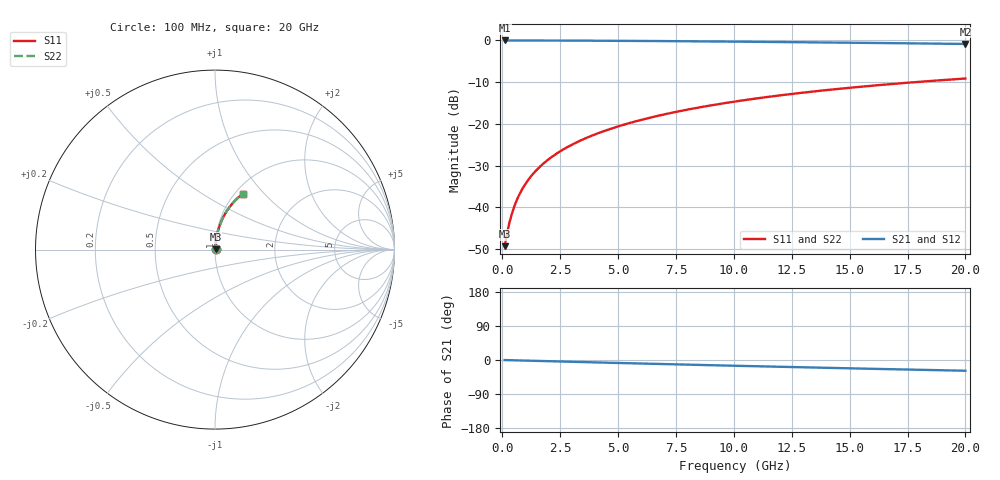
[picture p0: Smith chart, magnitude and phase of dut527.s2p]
! Touchstone file exported from HFSS 2024.1.0
!  File:  C:/UserFiles/LocalFiles/RDL_TSV_Batchsim/temp_RDL_bottom_527_1779688339.aedt
!  Generated:  01:54:50 PM May 25, 2026
!  Design:  RDL_bottom
!  Project:  temp_RDL_bottom_527_1779688339
!  Setup:  Setup1
!  Solution:  Sweep
! Variables:
!  dtsv = 10.80580581um
!  hbump = 3um
!  htsv = 66.06um
!  ldown = 343.71um
!  lrdl = 100um
!  p = 40
!  p1 = 45.08um
!  rhole = 1um
!  t = 450um
!  tdown = 4.01um
!  trdl = 3.915915916um
!  wdown = 11.1um
!  wrdl = 20um
# GHz S MA R 50.000000
! Terminal data exported
! Port[1] = RDL1_T1
! Port[2] = RDL1_T2
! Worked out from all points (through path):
!   200 points, 100 MHz to 20 GHz, reference 50 ohm
!   highest |S21| = -0.02 dB at 100 MHz (marker M1); lowest = -0.9 dB at 20 GHz (marker M2)
!   group delay of S21, straight-line fit = 3.93 ps
!   lowest |S11| = -49.3 dB at 100 MHz (marker M3), VSWR 1.01, Z = 50.3 + j0.194 ohm
!   |S11| at or under -10 dB: start of sweep to 17.86 GHz
!   |S22| runs from -49.3 to -9.1 dB; largest |S21 - S12| = 3.1e-15
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0.1  0.003419 34.3  0.9972 -0.2  0.9972 -0.2  0.003419 34.3
! Gamma 0 0 0 0
! Port Impedance 50 0 50 0
0.2  0.004779 53.0  0.9971 -0.3  0.9971 -0.3  0.00478 53.0
0.3  0.006399 62.8  0.9971 -0.5  0.9971 -0.5  0.0064 62.8
0.4  0.008125 68.5  0.997 -0.6  0.997 -0.6  0.008126 68.5
0.5  0.009903 72.2  0.9969 -0.8  0.9969 -0.8  0.009904 72.1
0.6  0.01171 74.7  0.9968 -1.0  0.9968 -1.0  0.01171 74.7
0.8  0.01537 77.8  0.9967 -1.3  0.9967 -1.3  0.01537 77.8
1.1  0.02091 80.3  0.9964 -1.8  0.9964 -1.8  0.02091 80.3
1.5  0.02831 81.8  0.9959 -2.4  0.9959 -2.4  0.02831 81.8
1.8  0.03387 82.4  0.9955 -2.9  0.9955 -2.9  0.03387 82.4
2.1  0.03942 82.7  0.995 -3.3  0.995 -3.3  0.03942 82.7
2.7  0.05053 82.9  0.9939 -4.3  0.9939 -4.3  0.05053 82.9
3.5  0.06534 82.6  0.992 -5.5  0.992 -5.5  0.06534 82.6
4.2  0.07828 82.2  0.9901 -6.6  0.9901 -6.6  0.07828 82.2
5  0.09305 81.5  0.9875 -7.8  0.9875 -7.8  0.09305 81.5
5.9  0.1096 80.7  0.9842 -9.2  0.9842 -9.2  0.1096 80.6
6.8  0.1261 79.7  0.9805 -10.5  0.9805 -10.5  0.1261 79.7
8.3  0.1535 78.0  0.9738 -12.7  0.9738 -12.7  0.1534 78.0
10.1  0.1858 75.8  0.965 -15.3  0.965 -15.3  0.1858 75.8
13.4  0.2434 71.7  0.9468 -19.8  0.9468 -19.8  0.2433 71.7
16.7  0.2979 67.5  0.9269 -24.2  0.9269 -24.2  0.2979 67.5
20  0.3488 63.4  0.9056 -28.4  0.9056 -28.4  0.3488 63.4
